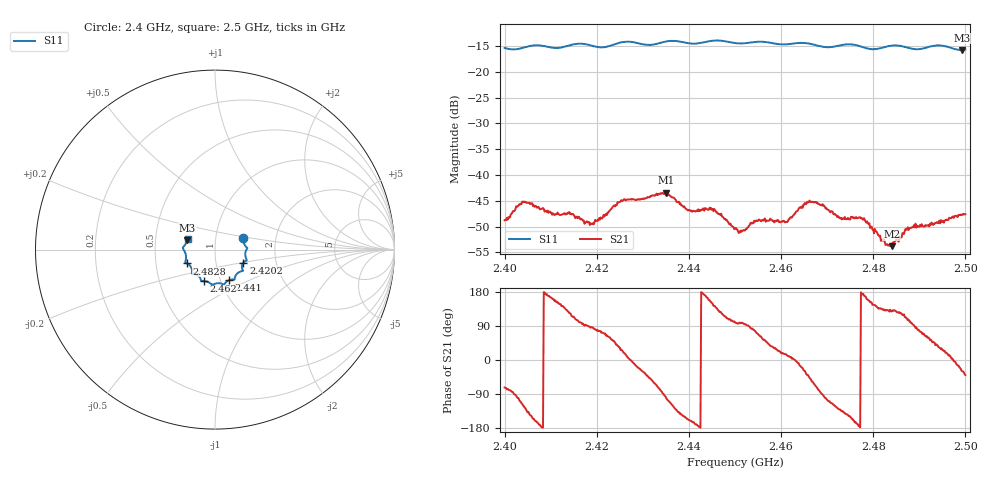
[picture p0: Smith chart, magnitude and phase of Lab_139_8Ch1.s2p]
# Hz S RI R 50
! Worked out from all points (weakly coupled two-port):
!   601 points, 2.4 GHz to 2.5 GHz, reference 50 ohm
!   highest |S21| = -43.44 dB at 2.435 GHz (marker M1); lowest = -53.8 dB at 2.484 GHz (marker M2)
!   lowest |S11| = -15.8 dB at 2.4993 GHz (marker M3), VSWR 1.39, Z = 36.5 + j3.89 ohm
!   |S11| at or under -10 dB: start of sweep to end of sweep
!   S12 and S22 are empty: the file has one direction only
!   S11 on the Smith chart (normalised r, x): 2.4 GHz: 1.36, +0.17; 2.4202 GHz: 1.36, -0.20; 2.441 GHz: 1.10, -0.39; 2.462 GHz: 0.83, -0.30; 2.4828 GHz: 0.72, -0.11; 2.5 GHz: 0.73, +0.09
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2.4e9  0.1583 0.0619  0.00109 -0.00348  0 0  0 0
2.404333e9  0.1716 0.0177  -0.00321 -0.0045  0 0  0 0
2.416667e9  0.1768 -0.0606  -0.000536 0.00372  0 0  0 0
2.420167e9  0.158 -0.072  0.000699 0.00358  0 0  0 0
2.4255e9  0.1552 -0.1157  0.00505 0.0024  0 0  0 0
2.433333e9  0.1119 -0.151  0.00196 -0.00627  0 0  0 0
2.435e9  0.1097 -0.1629  -0.000964 -0.00666  0 0  0 0
2.441e9  0.0781 -0.1702  -0.00433 -0.00126  0 0  0 0
2.445333e9  0.0515 -0.1934  -0.00356 0.00268  0 0  0 0
2.45e9  0.0278 -0.1876  -0.000505 0.00299  0 0  0 0
2.451167e9  0.0163 -0.1873  -0.000411 0.00276  0 0  0 0
2.454667e9  -0.0107 -0.1946  0.00113 0.00345  0 0  0 0
2.462e9  -0.0608 -0.1759  0.00385 0.000499  0 0  0 0
2.466667e9  -0.0789 -0.1678  0.00304 -0.00461  0 0  0 0
2.473e9  -0.1202 -0.135  -0.00264 -0.0028  0 0  0 0
2.477667e9  -0.1273 -0.1182  -0.00371 0.000452  0 0  0 0
2.482833e9  -0.1571 -0.0768  -0.00138 0.0016  0 0  0 0
2.483333e9  -0.1604 -0.0753  -0.00137 0.0016  0 0  0 0
2.484e9  -0.1632 -0.0737  -0.00126 0.00161  0 0  0 0
2.4875e9  -0.1618 -0.0544  -0.000824 0.00301  0 0  0 0
2.499333e9  -0.1539 0.0519  0.00359 -0.00203  0 0  0 0
2.5e9  -0.1525 0.0614  0.00321 -0.00267  0 0  0 0
